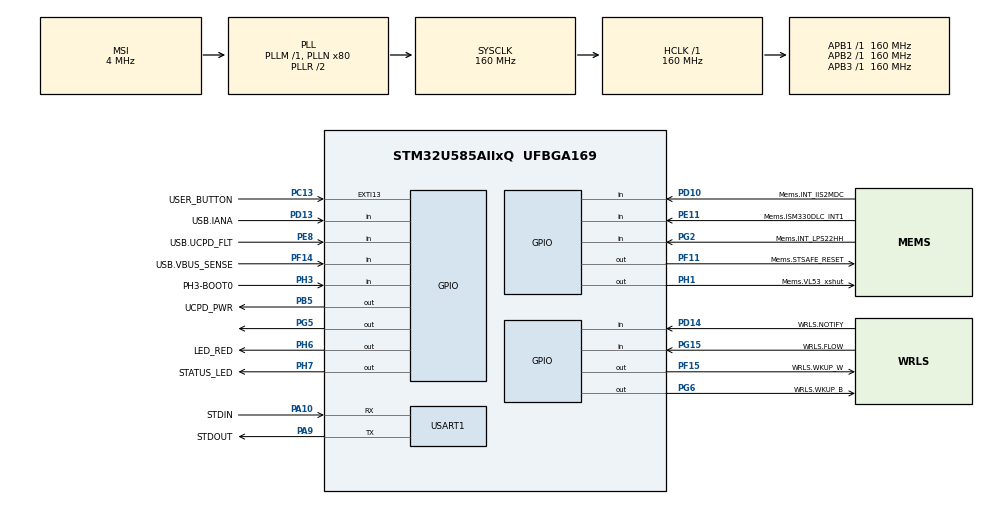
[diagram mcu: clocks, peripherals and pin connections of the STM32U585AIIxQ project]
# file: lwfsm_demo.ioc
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CORTEX_M33_NS.userName=CORTEX_M33
Mcu.Family=STM32U5
Mcu.Name=STM32U585AIIxQ
Mcu.Package=UFBGA169
NVIC.EXTI13_IRQn=true\:0\:0\:false\:false\:true\:true\:true\:true
NVIC.PriorityGroup=NVIC_PRIORITYGROUP_4
PA10.GPIO_Label=STDIN
PA10.GPIO_Speed=GPIO_SPEED_FREQ_VERY_HIGH
PA10.Mode=Asynchronous
PA10.Signal=USART1_RX
PA11.GPIO_Label=USB.C_P
PA11.Signal=USB_OTG_FS_DM
PA12.GPIO_Label=USB.C_P
PA12.Signal=USB_OTG_FS_DP
PA13\ (JTMS/SWDIO).GPIO_Label=T.SWDIO
PA13\ (JTMS/SWDIO).Signal=DEBUG_JTMS-SWDIO
PA14\ (JTCK/SWCLK).GPIO_Label=T.SWCLK
PA14\ (JTCK/SWCLK).Signal=DEBUG_JTCK-SWCLK
PA15\ (JTDI).GPIO_Label=USB.UCPD_CC1
PA15\ (JTDI).Signal=UCPD1_CC1
PA9.GPIO_Label=STDOUT
PA9.GPIO_PuPd=GPIO_NOPULL
PA9.Mode=Asynchronous
PA9.Signal=USART1_TX
PB1.GPIO_Label=MIC.SDIN0
PB1.Signal=MDF1_SDI0
PB10.GPIO_Label=OCTOSPI.R_CLK_P
PB10.Signal=OCTOSPIM_P1_CLK
PB11.GPIO_Label=OCTOSPI.R_NCS
PB11.Signal=OCTOSPIM_P1_NCS
PB12.GPIO_Label=WRLS.SPI2_NSS
PB12.Signal=SPI2_NSS
PB15.GPIO_Label=USB.UCPD_CC2
PB15.Signal=UCPD1_CC2
PB3\ (JTDO/TRACESWO).GPIO_Label=T.SWO
PB3\ (JTDO/TRACESWO).Signal=DEBUG_JTDO-SWO
PB5.GPIO_Label=UCPD_PWR
PB5.Signal=GPIO_Output
PB8.Signal=I2C1_SCL
PB9.Signal=I2C1_SDA
PC10.GPIO_Label=WRLS.UART4_TX
PC10.Signal=UART4_TX
PC11.GPIO_Label=WRLS.UART4_RX
PC11.Signal=UART4_RX
PC13.GPIO_Label=USER_BUTTON
PC13.GPIO_PuPd=GPIO_PULLUP
PC13.Signal=GPXTI13
PC14-OSC32_IN\ (PC14).GPIO_Label=PC14-OSC32_IN
PC14-OSC32_IN\ (PC14).Signal=RCC_OSC32_IN
PC15-OSC32_OUT\ (PC15).GPIO_Label=PC15-OSC32_OUT
PC15-OSC32_OUT\ (PC15).Signal=RCC_OSC32_OUT
PC3.GPIO_Label=OCTOSPI.R_IO6
PC3.Signal=OCTOSPIM_P1_IO6
PD1.GPIO_Label=WRLS.SPI2_SCK
PD1.Signal=SPI2_SCK
PD10.GPIO_Label=Mems.INT_IIS2MDC
PD10.Signal=GPIO_Input
PD13.GPIO_Label=USB.IANA
PD13.Signal=GPIO_Input
PD14.GPIO_Label=WRLS.NOTIFY
PD14.Signal=GPIO_Input
PD3.GPIO_Label=WRLS.SPI2_MISO
PD3.Signal=SPI2_MISO
PD4.GPIO_Label=WRLS.SPI2_MOSI
PD4.Signal=SPI2_MOSI
PD7.GPIO_Label=OCTOSPI.R_IO7
PD7.Signal=OCTOSPIM_P1_IO7
PE10.GPIO_Label=MIC.SDINx
PE10.Signal=ADF1_SDI0
PE11.GPIO_Label=Mems.ISM330DLC_INT1
PE11.Signal=GPIO_Input
PE3.GPIO_Label=OCTOSPI.R_DQS
PE3.Signal=OCTOSPIM_P1_DQS
PE8.GPIO_Label=USB.UCPD_FLT
PE8.Signal=GPIO_Input
PE9.GPIO_Label=MIC.CCK0
PE9.Signal=ADF1_CCK0
PF0.GPIO_Label=OCTOSPI.F_IO0
PF0.Signal=OCTOSPIM_P2_IO0
PF1.GPIO_Label=OCTOSPI.F_IO1
PF1.Signal=OCTOSPIM_P2_IO1
PF10.GPIO_Label=MIC.CCK1
PF10.Signal=MDF1_CCK1
PF11.GPIO_Label=Mems.STSAFE_RESET
PF11.Signal=GPIO_Output
PF12.GPIO_Label=OCTOSPI.F_DQS
PF12.Signal=OCTOSPIM_P2_DQS
PF14.GPIO_Label=USB.VBUS_SENSE
PF14.Signal=GPIO_Input
PF15.GPIO_Label=WRLS.WKUP_W
PF15.Signal=GPIO_Output
PF2.GPIO_Label=OCTOSPI.F_IO2
PF2.Signal=OCTOSPIM_P2_IO2
PF3.GPIO_Label=OCTOSPI.F_IO3
PF3.Signal=OCTOSPIM_P2_IO3
PF4.GPIO_Label=OCTOSPI.F_CLK_P
PF4.Signal=OCTOSPIM_P2_CLK
PF6.GPIO_Label=OCTOSPI.R_IO3
PF6.Signal=OCTOSPIM_P1_IO3
PF7.GPIO_Label=OCTOSPI.R_IO2
PF7.Signal=OCTOSPIM_P1_IO2
PF8.GPIO_Label=OCTOSPI.R_IO0
PF8.Signal=OCTOSPIM_P1_IO0
PF9.GPIO_Label=OCTOSPI.R_IO1
PF9.Signal=OCTOSPIM_P1_IO1
PG15.GPIO_Label=WRLS.FLOW
PG15.Signal=GPIO_Input
PG2.GPIO_Label=Mems.INT_LPS22HH
PG2.Signal=GPIO_Input
PG5.Signal=GPIO_Output
PG6.GPIO_Label=WRLS.WKUP_B
PG6.Signal=GPIO_Output
PH1-OSC_OUT\ (PH1).GPIO_Label=Mems.VL53_xshut
PH1-OSC_OUT\ (PH1).Signal=GPIO_Output
PH10.GPIO_Label=OCTOSPI.F_IO5
PH10.Signal=OCTOSPIM_P2_IO5
PH11.GPIO_Label=OCTOSPI.F_IO6
PH11.Signal=OCTOSPIM_P2_IO6
PH12.GPIO_Label=OCTOSPI.F_IO7
PH12.Signal=OCTOSPIM_P2_IO7
PH2.GPIO_Label=OCTOSPI.R_IO4
PH2.Signal=OCTOSPIM_P1_IO4
PH3-BOOT0.GPIO_Label=PH3-BOOT0
PH3-BOOT0.Signal=GPIO_Input
PH4.Signal=I2C2_SCL
PH5.Signal=I2C2_SDA
PH6.GPIO_Label=LED_RED
PH6.Signal=GPIO_Output
PH7.GPIO_Label=STATUS_LED
PH7.GPIO_PuPd=GPIO_PULLUP
PH7.GPIO_Speed=GPIO_SPEED_FREQ_VERY_HIGH
PH7.Signal=GPIO_Output
PH9.GPIO_Label=OCTOSPI.F_IO4
PH9.Signal=OCTOSPIM_P2_IO4
PI0.GPIO_Label=OCTOSPI.R_IO5
PI0.Signal=OCTOSPIM_P1_IO5
PI5.GPIO_Label=OCTOSPI.F_NCS
PI5.Signal=OCTOSPIM_P2_NCS
PWR.PowerMode=PWR_SMPS_SUPPLY
ProjectManager.HeapSize=0x200
ProjectManager.StackSize=0x400
ProjectManager.TargetToolchain=STM32CubeIDE
RCC.ADCFreq_Value=16000000
RCC.AHBFreq_Value=160000000
RCC.APB1Freq_Value=160000000
RCC.APB1TimFreq_Value=160000000
RCC.APB2Freq_Value=160000000
RCC.APB2TimFreq_Value=160000000
RCC.APB3Freq_Value=160000000
RCC.CortexFreq_Value=160000000
RCC.DACCLockSelectionVirtual=RCC_DAC1CLKSOURCE_LSI
RCC.DACCLockSelectionVirtualString=RCC_DAC1CLKSOURCE_LSI
RCC.EPOD_VALUE=4000000
RCC.HCLKFreq_Value=160000000
RCC.HSE_VALUE=16000000
RCC.HSI48_VALUE=48000000
RCC.HSI_VALUE=16000000
RCC.LSE_VALUE=32768
RCC.LSIDIV_VALUE=32000
RCC.MSI_VALUE=4000000
RCC.PLLN=80
RCC.SYSCLKFreq_VALUE=160000000
RCC.SYSCLKSource=RCC_SYSCLKSOURCE_PLLCLK
RCC.USBFreq_Value=48000000
RCC.VCOOutputFreq_Value=320000000
USART1.VirtualMode-Asynchronous=VM_ASYNC
VP_LPBAMQUEUE_VS_QUEUE.Mode=QUEUEMODE
VP_LPBAM_VS_SIG1.Mode=SmartRun
VP_LPBAM_VS_SIG4.Mode=LPDMA1
VP_PWR_VS_LPOM.Mode=PowerOptimisation
VP_PWR_VS_SECSignals.Mode=Security/Privilege
board=B-U585I-IOT02A

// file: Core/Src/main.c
/* USER CODE BEGIN Header */
/**
  ******************************************************************************
  * @file           : main.c
  * @brief          : Main program body
  ******************************************************************************
  * @attention
  *
  * Copyright (c) 2022 STMicroelectronics.
  * All rights reserved.
  *
  * This software is licensed under terms that can be found in the LICENSE file
  * in the root directory of this software component.
  * If no LICENSE file comes with this software, it is provided AS-IS.
  *
  ******************************************************************************
  */
/* USER CODE END Header */
#include "main.h"
#include "usart.h"
#include "gpio.h"

/* USER CODE BEGIN Includes */
#include <stdio.h>
#include "lwfsm_app.h" /* entry point of the applicative FSM */
/* USER CODE END Includes */

/* USER CODE BEGIN PV */
uint32_t my_user_ctxt;
/* USER CODE END PV */

void SystemClock_Config(void);
static void SystemPower_Config(void);

/* USER CODE BEGIN 0 */
volatile uint32_t gButtonCnt = 0;
/* USER CODE END 0 */

int main(void)
{

  /* MCU Configuration--------------------------------------------------------*/

  /* Reset of all peripherals, Initializes the Flash interface and the Systick. */
  HAL_Init();

  /* Configure the system clock */
  SystemClock_Config();

  /* Configure the System Power */
  SystemPower_Config();

  /* Initialize all configured peripherals */
  MX_GPIO_Init();
  MX_USART1_UART_Init();
  /* USER CODE BEGIN 2 */
  printf("***** LwFSM demo project *****\r\n");
  HAL_GPIO_WritePin(GPIOH, LED_RED_Pin|STATUS_LED_Pin, GPIO_PIN_SET);

  /* Run the FSM task : programming model 1 */
  printf("Start with programming model 1\r\n");
  myAppTaskM1(&my_user_ctxt);

  /* Run the FSM task : programming model 2 */
  printf("Switch to programming model 2\r\n");
  gButtonCnt = 0;
  my_user_ctxt = 0;
  myAppTaskM2(&my_user_ctxt);
  printf("***** LwFSM demo project completed.*****\r\n");
  /* USER CODE END 2 */

  /* Infinite loop */
  while (1)
  {

  }
}

void SystemClock_Config(void)
{
  RCC_OscInitTypeDef RCC_OscInitStruct = {0};
  RCC_ClkInitTypeDef RCC_ClkInitStruct = {0};

  /** Configure the main internal regulator output voltage
  */
  if (HAL_PWREx_ControlVoltageScaling(PWR_REGULATOR_VOLTAGE_SCALE1) != HAL_OK)
  {
    Error_Handler();
  }

  /** Initializes the CPU, AHB and APB buses clocks
  */
  RCC_OscInitStruct.OscillatorType = RCC_OSCILLATORTYPE_MSI;
  RCC_OscInitStruct.MSIState = RCC_MSI_ON;
  RCC_OscInitStruct.MSICalibrationValue = RCC_MSICALIBRATION_DEFAULT;
  RCC_OscInitStruct.MSIClockRange = RCC_MSIRANGE_4;
  RCC_OscInitStruct.PLL.PLLState = RCC_PLL_ON;
  RCC_OscInitStruct.PLL.PLLSource = RCC_PLLSOURCE_MSI;
  RCC_OscInitStruct.PLL.PLLMBOOST = RCC_PLLMBOOST_DIV1;
  RCC_OscInitStruct.PLL.PLLM = 1;
  RCC_OscInitStruct.PLL.PLLN = 80;
  RCC_OscInitStruct.PLL.PLLP = 2;
  RCC_OscInitStruct.PLL.PLLQ = 2;
  RCC_OscInitStruct.PLL.PLLR = 2;
  RCC_OscInitStruct.PLL.PLLRGE = RCC_PLLVCIRANGE_0;
  RCC_OscInitStruct.PLL.PLLFRACN = 0;
  if (HAL_RCC_OscConfig(&RCC_OscInitStruct) != HAL_OK)
  {
    Error_Handler();
  }

  /** Initializes the CPU, AHB and APB buses clocks
  */
  RCC_ClkInitStruct.ClockType = RCC_CLOCKTYPE_HCLK|RCC_CLOCKTYPE_SYSCLK
                              |RCC_CLOCKTYPE_PCLK1|RCC_CLOCKTYPE_PCLK2
                              |RCC_CLOCKTYPE_PCLK3;
  RCC_ClkInitStruct.SYSCLKSource = RCC_SYSCLKSOURCE_PLLCLK;
  RCC_ClkInitStruct.AHBCLKDivider = RCC_SYSCLK_DIV1;
  RCC_ClkInitStruct.APB1CLKDivider = RCC_HCLK_DIV1;
  RCC_ClkInitStruct.APB2CLKDivider = RCC_HCLK_DIV1;
  RCC_ClkInitStruct.APB3CLKDivider = RCC_HCLK_DIV1;

  if (HAL_RCC_ClockConfig(&RCC_ClkInitStruct, FLASH_LATENCY_4) != HAL_OK)
  {
    Error_Handler();
  }
}

/**
  * @brief Power Configuration
  * @retval None
  */
static void SystemPower_Config(void)
{
  HAL_PWREx_EnableVddIO2();

  /*
   * Switch to SMPS regulator instead of LDO
   */
  if (HAL_PWREx_ConfigSupply(PWR_SMPS_SUPPLY) != HAL_OK)
  {
    Error_Handler();
  }
}

/* USER CODE BEGIN 4 */
/**
  * @brief EXTI line detection callbacks
  * @param GPIO_Pin: Specifies the pins connected EXTI line
  * @retval None
  */
void HAL_GPIO_EXTI_Rising_Callback(uint16_t GPIO_Pin)
{
  if (GPIO_Pin == USER_BUTTON_Pin)
  {
	  gButtonCnt++;
	  HAL_GPIO_TogglePin(GPIOH, STATUS_LED_Pin);
  }
}
/* USER CODE END 4 */

void Error_Handler(void)
{
  __disable_irq();
  while (1)
  {
  }
}
